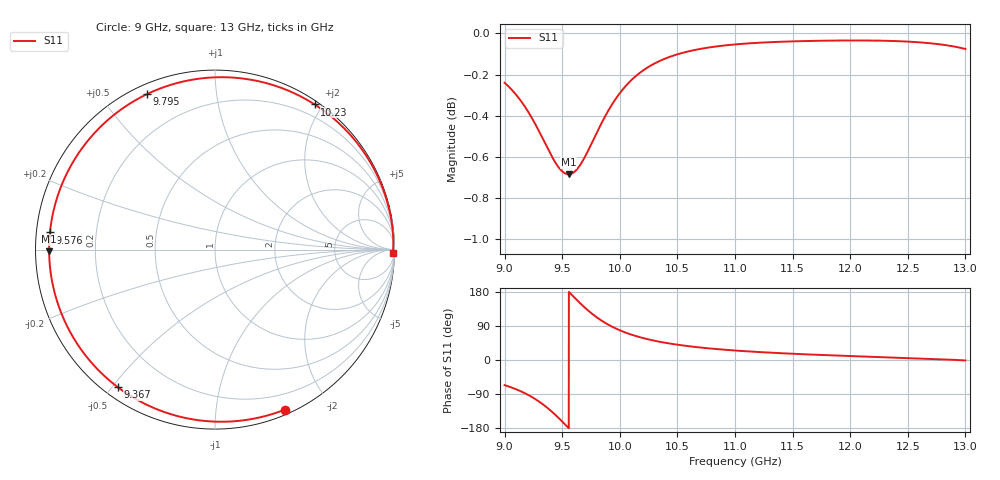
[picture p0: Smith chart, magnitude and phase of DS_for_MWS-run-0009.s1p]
! TOUCHSTONE file generated by CST DESIGN STUDIO
! Date and time: Tue Feb  4 14:23:09 2025
! Project name: C:\Work\MatlabApps\UnitCellOptimizationMatlab\CST\unitcell.cst
! Tree item: Tasks\Sweep1\SPara1\S-Parameters
! Header version: 2024
! Port assignment regex: !\s*Touchstone port\s*([0-9]+)\s*=\s*(CST MWS port|CST DES external port|CST DES block port)\s*(.+)\s* \(\"(.*)\"\)(\s*mode\s*([0-9]+))?.*
! Touchstone port assignment:
! Touchstone port 1 = CST DES external port 1 ("")
# GHz S MA R 50
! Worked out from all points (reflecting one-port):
!   4001 points, 9 GHz to 13 GHz, reference 50 ohm
!   lowest |S11| = -0.7 dB at 9.555 GHz (marker M1), VSWR 25.39, Z = 1.97 - j0.279 ohm
!   phase of S11 starts at -66 deg and turns -295 deg over the sweep
!   S11 on the Smith chart (normalised r, x): 9 GHz: 0.05, -1.53; 9.367 GHz: 0.04, -0.52; 9.576 GHz: 0.04, +0.05; 9.795 GHz: 0.04, +0.65; 10.23 GHz: 0.04, +1.90; 13 GHz: 36, -84
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9  0.9728 -66.3
9.042  0.9703 -70.6
9.108  0.9657 -78.2
9.221  0.9555 -94.9
9.298  0.9468 -109.5
9.367  0.9385 -125.2
9.431  0.9313 -142.1
9.467  0.928 -152.4
9.5  0.9257 -162.3
9.555  0.9242 -179.4
9.576  0.9244 174.1
9.63  0.927 157.5
9.691  0.9326 139.7
9.742  0.9386 126.3
9.795  0.9453 113.7
9.839  0.9508 104.5
9.886  0.9562 95.7
10  0.9671 78.4
10.11  0.9748 66.0
10.233  0.9808 55.5
10.357  0.9851 47.5
10.5  0.9884 40.4
10.721  0.9917 32.2
11  0.9939 25.0
11.5  0.9956 16.5
12  0.9961 10.5
12.5  0.9955 5.2
13  0.9914 -1.2
